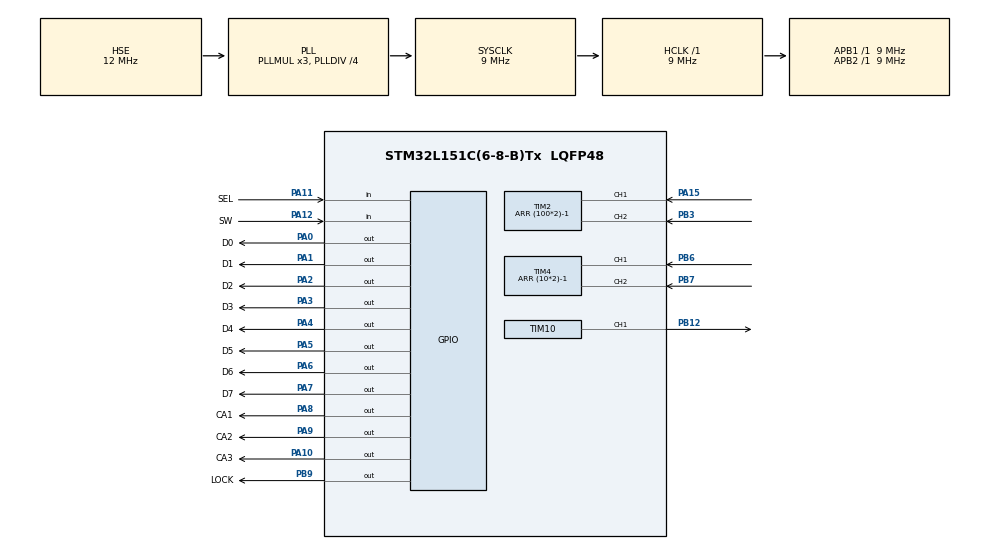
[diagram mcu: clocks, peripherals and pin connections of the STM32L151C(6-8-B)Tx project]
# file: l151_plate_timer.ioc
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Mcu.Family=STM32L1
Mcu.Name=STM32L151C(6-8-B)Tx
Mcu.Package=LQFP48
NVIC.PriorityGroup=NVIC_PRIORITYGROUP_4
NVIC.TIM2_IRQn=true\:0\:0\:false\:false\:true
NVIC.TIM3_IRQn=true\:0\:0\:true\:false\:true
NVIC.TIM4_IRQn=true\:0\:0\:false\:false\:true
PA0-WKUP1.GPIO_Label=D0
PA0-WKUP1.Signal=GPIO_Output
PA1.GPIO_Label=D1
PA1.Signal=GPIO_Output
PA10.GPIO_Label=CA3
PA10.PinState=GPIO_PIN_SET
PA10.Signal=GPIO_Output
PA11.GPIO_Label=SEL
PA11.GPIO_PuPd=GPIO_PULLUP
PA11.Signal=GPIO_Input
PA12.GPIO_Label=SW
PA12.GPIO_PuPd=GPIO_PULLUP
PA12.Signal=GPIO_Input
PA13.Mode=Serial_Wire
PA13.Signal=SYS_JTMS-SWDIO
PA14.Mode=Serial_Wire
PA14.Signal=SYS_JTCK-SWCLK
PA15.GPIO_PuPd=GPIO_PULLUP
PA15.GPIO_Speed=GPIO_SPEED_FREQ_VERY_HIGH
PA15.Signal=S_TIM2_CH1_ETR
PA2.GPIO_Label=D2
PA2.Signal=GPIO_Output
PA3.GPIO_Label=D3
PA3.Signal=GPIO_Output
PA4.GPIO_Label=D4
PA4.Signal=GPIO_Output
PA5.GPIO_Label=D5
PA5.Signal=GPIO_Output
PA6.GPIO_Label=D6
PA6.Signal=GPIO_Output
PA7.GPIO_Label=D7
PA7.Signal=GPIO_Output
PA8.GPIO_Label=CA1
PA8.PinState=GPIO_PIN_SET
PA8.Signal=GPIO_Output
PA9.GPIO_Label=CA2
PA9.PinState=GPIO_PIN_SET
PA9.Signal=GPIO_Output
PB12.GPIO_PuPd=GPIO_PULLDOWN
PB12.GPIO_Speed=GPIO_SPEED_FREQ_VERY_HIGH
PB12.Signal=S_TIM10_CH1
PB3.GPIO_PuPd=GPIO_PULLUP
PB3.GPIO_Speed=GPIO_SPEED_FREQ_VERY_HIGH
PB3.Signal=S_TIM2_CH2
PB6.GPIO_PuPd=GPIO_PULLUP
PB6.GPIO_Speed=GPIO_SPEED_FREQ_VERY_HIGH
PB6.Signal=S_TIM4_CH1
PB7.GPIO_PuPd=GPIO_PULLUP
PB7.GPIO_Speed=GPIO_SPEED_FREQ_VERY_HIGH
PB7.Signal=S_TIM4_CH2
PB9.GPIO_Label=LOCK
PB9.Signal=GPIO_Output
PH0-OSC_IN.Mode=HSE-External-Oscillator
PH0-OSC_IN.Signal=RCC_OSC_IN
PH1-OSC_OUT.Mode=HSE-External-Oscillator
PH1-OSC_OUT.Signal=RCC_OSC_OUT
ProjectManager.HeapSize=0x200
ProjectManager.StackSize=0x400
ProjectManager.TargetToolchain=SW4STM32
RCC.AHBFreq_Value=9000000
RCC.APB1Freq_Value=9000000
RCC.APB1TimFreq_Value=9000000
RCC.APB2Freq_Value=9000000
RCC.APB2TimFreq_Value=9000000
RCC.HCLKFreq_Value=9000000
RCC.HSE_VALUE=12000000
RCC.HSI_VALUE=16000000
RCC.LSE_VALUE=32768
RCC.MSI_VALUE=2097000
RCC.PLLDIV=RCC_PLL_DIV4
RCC.PLLSourceVirtual=RCC_PLLSOURCE_HSE
RCC.SYSCLKFreq_VALUE=9000000
RCC.SYSCLKSource=RCC_SYSCLKSOURCE_PLLCLK
RCC.USBOutput=18000000
RCC.VCOOutputFreq_Value=36000000
SH.S_TIM10_CH1.0=TIM10_CH1,PWM Generation1 CH1
SH.S_TIM2_CH1_ETR.0=TIM2_CH1,Encoder_Interface
SH.S_TIM2_CH2.0=TIM2_CH2,Encoder_Interface
SH.S_TIM4_CH1.0=TIM4_CH1,Encoder_Interface
SH.S_TIM4_CH2.0=TIM4_CH2,Encoder_Interface
TIM10.OCFastMode_PWM=TIM_OCFAST_ENABLE
TIM10.Period=2250-1
TIM10.Pulse=1125-1
TIM2.Period=(100*2)-1
TIM3.Channel-Output\ Compare2\ No\ Output=TIM_CHANNEL_2
TIM3.Channel-Output\ Compare3\ No\ Output=TIM_CHANNEL_3
TIM3.Period=90-1
TIM3.Prescaler=1000-1
TIM3.Pulse-Output\ Compare1\ No\ Output=15
TIM3.Pulse-Output\ Compare2\ No\ Output=45
TIM3.Pulse-Output\ Compare3\ No\ Output=75
TIM3.TIM_MasterOutputTrigger=TIM_TRGO_UPDATE
TIM4.Period=(10*2)-1
VP_TIM10_VS_ClockSourceINT.Mode=Internal
VP_TIM3_VS_ClockSourceINT.Mode=Internal
VP_TIM3_VS_no_output1.Mode=Output Compare1 No Output
VP_TIM3_VS_no_output2.Mode=Output Compare2 No Output
VP_TIM3_VS_no_output3.Mode=Output Compare3 No Output
board=l151_plate_timer

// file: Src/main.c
/**
  ******************************************************************************
  * File Name          : main.c
  * Description        : Main program body
  ******************************************************************************
  *
  * COPYRIGHT(c) 2017 STMicroelectronics
  *
  * Redistribution and use in source and binary forms, with or without modification,
  * are permitted provided that the following conditions are met:
  *   1. Redistributions of source code must retain the above copyright notice,
  *      this list of conditions and the following disclaimer.
  *   2. Redistributions in binary form must reproduce the above copyright notice,
  *      this list of conditions and the following disclaimer in the documentation
  *      and/or other materials provided with the distribution.
  *   3. Neither the name of STMicroelectronics nor the names of its contributors
  *      may be used to endorse or promote products derived from this software
  *      without specific prior written permission.
  *
  * THIS SOFTWARE IS PROVIDED BY THE COPYRIGHT HOLDERS AND CONTRIBUTORS "AS IS"
  * AND ANY EXPRESS OR IMPLIED WARRANTIES, INCLUDING, BUT NOT LIMITED TO, THE
  * IMPLIED WARRANTIES OF MERCHANTABILITY AND FITNESS FOR A PARTICULAR PURPOSE ARE
  * DISCLAIMED. IN NO EVENT SHALL THE COPYRIGHT HOLDER OR CONTRIBUTORS BE LIABLE
  * FOR ANY DIRECT, INDIRECT, INCIDENTAL, SPECIAL, EXEMPLARY, OR CONSEQUENTIAL
  * DAMAGES (INCLUDING, BUT NOT LIMITED TO, PROCUREMENT OF SUBSTITUTE GOODS OR
  * SERVICES; LOSS OF USE, DATA, OR PROFITS; OR BUSINESS INTERRUPTION) HOWEVER
  * CAUSED AND ON ANY THEORY OF LIABILITY, WHETHER IN CONTRACT, STRICT LIABILITY,
  * OR TORT (INCLUDING NEGLIGENCE OR OTHERWISE) ARISING IN ANY WAY OUT OF THE USE
  * OF THIS SOFTWARE, EVEN IF ADVISED OF THE POSSIBILITY OF SUCH DAMAGE.
  *
  ******************************************************************************
  */
#include "main.h"
#include "stm32l1xx_hal.h"

TIM_HandleTypeDef htim2;
TIM_HandleTypeDef htim3;
TIM_HandleTypeDef htim4;
TIM_HandleTypeDef htim10;

/* USER CODE BEGIN PV */
/* Private variables ---------------------------------------------------------*/
const uint16_t digdata[] = {0x00e7, 0x0021, 0x00cb, 0x006b, 0x002d, 0x06e, 0x00ee, 0x0023, 0x00ef, 0x006f};
const uint32_t resetdigit = 0x00ff0700;

__IO uint8_t update;
__IO uint16_t leddat[] = {0x0000, 0x0000, 0x0000};

/* USER CODE END PV */

void SystemClock_Config(void);
void Error_Handler(void);
static void MX_GPIO_Init(void);
static void MX_TIM3_Init(void);
static void MX_TIM2_Init(void);
static void MX_TIM4_Init(void);
static void MX_TIM10_Init(void);

void HAL_TIM_MspPostInit(TIM_HandleTypeDef *htim);

/* USER CODE BEGIN PFP */
/* Private function prototypes -----------------------------------------------*/

/* USER CODE END PFP */

/* USER CODE BEGIN 0 */

uint32_t xorshift(void)
{
  static uint32_t y = 2463534242;
  y = y ^ (y << 13); y = y ^ (y >> 17);
  return y = y ^ (y << 5);
}

void HAL_TIM_OC_DelayElapsedCallback(TIM_HandleTypeDef *htim)
{
  if (htim->Instance == TIM3) {
    if (htim->Channel == HAL_TIM_ACTIVE_CHANNEL_1) {
      GPIOA->BSRR = resetdigit;
      GPIOA->BSRR = leddat[0] | 0x01000000;
    } else
    if (htim->Channel == HAL_TIM_ACTIVE_CHANNEL_2) {
      GPIOA->BSRR = resetdigit;
      GPIOA->BSRR = leddat[1] | 0x02000000;
    } else
    if (htim->Channel == HAL_TIM_ACTIVE_CHANNEL_3) {
      GPIOA->BSRR = resetdigit;
      GPIOA->BSRR = leddat[2] | 0x04000000;
    }
  }
}

void HAL_TIM_PeriodElapsedCallback(TIM_HandleTypeDef *htim)
{
  if (htim->Instance == TIM3) {
    update = 1;
  }
}

uint32_t time_set(void)
{
  uint32_t cnt;

  do {
    xorshift();
    HAL_PWR_EnterSLEEPMode(PWR_MAINREGULATOR_ON, PWR_SLEEPENTRY_WFI);

    cnt = __HAL_TIM_GET_COUNTER(&htim2);
    if (cnt >= 20) {
      leddat[1] = digdata[(cnt/2) % 10] | 0x0010 ;
      leddat[2] = digdata[(cnt/20) % 10];
    } else {
      leddat[1] = digdata[(cnt/2) % 10] | 0x0010 ;
      leddat[2] = 0x0000;
    }

    cnt = __HAL_TIM_GET_COUNTER(&htim4);
    leddat[0] = digdata[cnt/2];

    if (HAL_GPIO_ReadPin(SW_GPIO_Port, SW_Pin) == RESET) {
      cnt = (__HAL_TIM_GET_COUNTER(&htim2)/2)*10 + __HAL_TIM_GET_COUNTER(&htim4)/2;
      if (cnt > 5) {
        break;
      }
    }
  } while (1);

  return cnt;
}

void countdown(uint32_t cnt)
{
  uint32_t t = 0;
  uint32_t buzz = 5;

  update = 0;
  while (update == 0) {
    xorshift();
    HAL_PWR_EnterSLEEPMode(PWR_MAINREGULATOR_ON, PWR_SLEEPENTRY_WFI);
  }
  update = 0;
  while (update == 0) ;

  MX_TIM10_Init();
  HAL_TIM_PWM_Start(&htim10, TIM_CHANNEL_1);

  while (cnt) {
    xorshift();
    HAL_PWR_EnterSLEEPMode(PWR_MAINREGULATOR_ON, PWR_SLEEPENTRY_WFI);

    if (update == 0) continue;
    update = 0;

    if (++t < 10) continue;
    t = 0;

    if (buzz) {
      if (--buzz == 0) {
        HAL_TIM_PWM_Stop(&htim10, TIM_CHANNEL_1);
        HAL_TIM_Base_DeInit(&htim10);
      }
    }
    --cnt;
    leddat[0] = digdata[cnt % 10];
    leddat[1] = digdata[(cnt/10) % 10] | 0x0010;
    if (cnt >= 100) {
      leddat[2] = digdata[(cnt/100) % 10];
    } else {
      leddat[2] = 0x0000;
    }
  }
}

void plock(void)
{
  MX_TIM10_Init();
  HAL_TIM_PWM_Start(&htim10, TIM_CHANNEL_1);

  HAL_GPIO_WritePin(LOCK_GPIO_Port, LOCK_Pin, SET);

  uint32_t cnt = 50;

  while (cnt) {
    xorshift();
    HAL_PWR_EnterSLEEPMode(PWR_MAINREGULATOR_ON, PWR_SLEEPENTRY_WFI);

    if (update == 0) continue;
    update = 0;

    --cnt;
  }

  HAL_TIM_PWM_Stop(&htim10, TIM_CHANNEL_1);
  HAL_TIM_Base_DeInit(&htim10);

  cnt = 250;

  while (cnt) {
    xorshift();
    HAL_PWR_EnterSLEEPMode(PWR_MAINREGULATOR_ON, PWR_SLEEPENTRY_WFI);

    if (update == 0) continue;
    update = 0;

    --cnt;
  }

  HAL_GPIO_WritePin(LOCK_GPIO_Port, LOCK_Pin, RESET);
}

/* USER CODE END 0 */

int main(void)
{

  /* USER CODE BEGIN 1 */
  GPIO_InitTypeDef GPIO_InitStruct;

  /* USER CODE END 1 */

  /* MCU Configuration----------------------------------------------------------*/

  /* Reset of all peripherals, Initializes the Flash interface and the Systick. */
  HAL_Init();

  /* Configure the system clock */
  SystemClock_Config();

  /* Initialize all configured peripherals */
  MX_GPIO_Init();
  MX_TIM3_Init();
  MX_TIM2_Init();
  MX_TIM4_Init();

  /* USER CODE BEGIN 2 */

  HAL_GPIO_WritePin(GPIOB, GPIO_PIN_12, RESET);
  GPIO_InitStruct.Pin = GPIO_PIN_12;
  GPIO_InitStruct.Mode = GPIO_MODE_OUTPUT_PP;
  GPIO_InitStruct.Pull = GPIO_NOPULL;
  GPIO_InitStruct.Speed = GPIO_SPEED_FREQ_LOW;
  HAL_GPIO_Init(GPIOB, &GPIO_InitStruct);

  /* USER CODE END 2 */

  /* Infinite loop */
  /* USER CODE BEGIN WHILE */
  HAL_TIM_Base_Start(&htim3);
  __HAL_TIM_CLEAR_IT(&htim3, TIM_IT_UPDATE | TIM_IT_CC1 | TIM_IT_CC2 | TIM_IT_CC3);
  __HAL_TIM_ENABLE_IT(&htim3, TIM_IT_UPDATE);
  __HAL_TIM_ENABLE_IT(&htim3, TIM_IT_CC1);
  __HAL_TIM_ENABLE_IT(&htim3, TIM_IT_CC2);
  __HAL_TIM_ENABLE_IT(&htim3, TIM_IT_CC3);

  HAL_TIM_Encoder_Start_IT(&htim2, TIM_CHANNEL_ALL);
  HAL_TIM_Encoder_Start_IT(&htim4, TIM_CHANNEL_ALL);
  uint32_t count = 50;

  while (1)
  {
  /* USER CODE END WHILE */

  /* USER CODE BEGIN 3 */

    __HAL_TIM_SET_COUNTER(&htim2, (count/10)*2);
    __HAL_TIM_SET_COUNTER(&htim4, (count%10)*2);

    count = time_set();

    if (HAL_GPIO_ReadPin(SEL_GPIO_Port, SEL_Pin)) {
      leddat[0] = leddat[1] = leddat[2] = 0x0008;

      uint32_t delay = (xorshift() % 200) + 150;
      __HAL_TIM_CLEAR_IT(&htim3, TIM_IT_UPDATE);
      while (delay) {
        xorshift();
        HAL_PWR_EnterSLEEPMode(PWR_MAINREGULATOR_ON, PWR_SLEEPENTRY_WFI);

        if (update == 0) continue;
        update = 0;

        --delay;
      }
    }

    countdown(count);

    plock();
  }
  /* USER CODE END 3 */

}

/** System Clock Configuration
*/
void SystemClock_Config(void)
{

  RCC_OscInitTypeDef RCC_OscInitStruct;
  RCC_ClkInitTypeDef RCC_ClkInitStruct;

    /**Configure the main internal regulator output voltage
    */
  __HAL_PWR_VOLTAGESCALING_CONFIG(PWR_REGULATOR_VOLTAGE_SCALE1);

    /**Initializes the CPU, AHB and APB busses clocks
    */
  RCC_OscInitStruct.OscillatorType = RCC_OSCILLATORTYPE_HSE;
  RCC_OscInitStruct.HSEState = RCC_HSE_ON;
  RCC_OscInitStruct.PLL.PLLState = RCC_PLL_ON;
  RCC_OscInitStruct.PLL.PLLSource = RCC_PLLSOURCE_HSE;
  RCC_OscInitStruct.PLL.PLLMUL = RCC_PLL_MUL3;
  RCC_OscInitStruct.PLL.PLLDIV = RCC_PLL_DIV4;
  if (HAL_RCC_OscConfig(&RCC_OscInitStruct) != HAL_OK)
  {
    Error_Handler();
  }

    /**Initializes the CPU, AHB and APB busses clocks
    */
  RCC_ClkInitStruct.ClockType = RCC_CLOCKTYPE_HCLK|RCC_CLOCKTYPE_SYSCLK
                              |RCC_CLOCKTYPE_PCLK1|RCC_CLOCKTYPE_PCLK2;
  RCC_ClkInitStruct.SYSCLKSource = RCC_SYSCLKSOURCE_PLLCLK;
  RCC_ClkInitStruct.AHBCLKDivider = RCC_SYSCLK_DIV1;
  RCC_ClkInitStruct.APB1CLKDivider = RCC_HCLK_DIV1;
  RCC_ClkInitStruct.APB2CLKDivider = RCC_HCLK_DIV1;

  if (HAL_RCC_ClockConfig(&RCC_ClkInitStruct, FLASH_LATENCY_0) != HAL_OK)
  {
    Error_Handler();
  }

    /**Configure the Systick interrupt time
    */
  HAL_SYSTICK_Config(HAL_RCC_GetHCLKFreq()/1000);

    /**Configure the Systick
    */
  HAL_SYSTICK_CLKSourceConfig(SYSTICK_CLKSOURCE_HCLK);

  /* SysTick_IRQn interrupt configuration */
  HAL_NVIC_SetPriority(SysTick_IRQn, 0, 0);
}

/* TIM2 init function */
static void MX_TIM2_Init(void)
{

  TIM_Encoder_InitTypeDef sConfig;
  TIM_MasterConfigTypeDef sMasterConfig;

  htim2.Instance = TIM2;
  htim2.Init.Prescaler = 0;
  htim2.Init.CounterMode = TIM_COUNTERMODE_UP;
  htim2.Init.Period = (100*2)-1;
  htim2.Init.ClockDivision = TIM_CLOCKDIVISION_DIV1;
  sConfig.EncoderMode = TIM_ENCODERMODE_TI1;
  sConfig.IC1Polarity = TIM_ICPOLARITY_RISING;
  sConfig.IC1Selection = TIM_ICSELECTION_DIRECTTI;
  sConfig.IC1Prescaler = TIM_ICPSC_DIV1;
  sConfig.IC1Filter = 0;
  sConfig.IC2Polarity = TIM_ICPOLARITY_RISING;
  sConfig.IC2Selection = TIM_ICSELECTION_DIRECTTI;
  sConfig.IC2Prescaler = TIM_ICPSC_DIV1;
  sConfig.IC2Filter = 0;
  if (HAL_TIM_Encoder_Init(&htim2, &sConfig) != HAL_OK)
  {
    Error_Handler();
  }

  sMasterConfig.MasterOutputTrigger = TIM_TRGO_RESET;
  sMasterConfig.MasterSlaveMode = TIM_MASTERSLAVEMODE_DISABLE;
  if (HAL_TIMEx_MasterConfigSynchronization(&htim2, &sMasterConfig) != HAL_OK)
  {
    Error_Handler();
  }

}

/* TIM3 init function */
static void MX_TIM3_Init(void)
{

  TIM_ClockConfigTypeDef sClockSourceConfig;
  TIM_MasterConfigTypeDef sMasterConfig;
  TIM_OC_InitTypeDef sConfigOC;

  htim3.Instance = TIM3;
  htim3.Init.Prescaler = 1000-1;
  htim3.Init.CounterMode = TIM_COUNTERMODE_UP;
  htim3.Init.Period = 90-1;
  htim3.Init.ClockDivision = TIM_CLOCKDIVISION_DIV1;
  if (HAL_TIM_Base_Init(&htim3) != HAL_OK)
  {
    Error_Handler();
  }

  sClockSourceConfig.ClockSource = TIM_CLOCKSOURCE_INTERNAL;
  if (HAL_TIM_ConfigClockSource(&htim3, &sClockSourceConfig) != HAL_OK)
  {
    Error_Handler();
  }

  if (HAL_TIM_OC_Init(&htim3) != HAL_OK)
  {
    Error_Handler();
  }

  sMasterConfig.MasterOutputTrigger = TIM_TRGO_UPDATE;
  sMasterConfig.MasterSlaveMode = TIM_MASTERSLAVEMODE_DISABLE;
  if (HAL_TIMEx_MasterConfigSynchronization(&htim3, &sMasterConfig) != HAL_OK)
  {
    Error_Handler();
  }

  sConfigOC.OCMode = TIM_OCMODE_TIMING;
  sConfigOC.Pulse = 15;
  sConfigOC.OCPolarity = TIM_OCPOLARITY_HIGH;
  sConfigOC.OCFastMode = TIM_OCFAST_DISABLE;
  if (HAL_TIM_OC_ConfigChannel(&htim3, &sConfigOC, TIM_CHANNEL_1) != HAL_OK)
  {
    Error_Handler();
  }

  sConfigOC.Pulse = 45;
  if (HAL_TIM_OC_ConfigChannel(&htim3, &sConfigOC, TIM_CHANNEL_2) != HAL_OK)
  {
    Error_Handler();
  }

  sConfigOC.Pulse = 75;
  if (HAL_TIM_OC_ConfigChannel(&htim3, &sConfigOC, TIM_CHANNEL_3) != HAL_OK)
  {
    Error_Handler();
  }

}

/* TIM4 init function */
static void MX_TIM4_Init(void)
{

  TIM_Encoder_InitTypeDef sConfig;
  TIM_MasterConfigTypeDef sMasterConfig;

  htim4.Instance = TIM4;
  htim4.Init.Prescaler = 0;
  htim4.Init.CounterMode = TIM_COUNTERMODE_UP;
  htim4.Init.Period = (10*2)-1;
  htim4.Init.ClockDivision = TIM_CLOCKDIVISION_DIV1;
  sConfig.EncoderMode = TIM_ENCODERMODE_TI1;
  sConfig.IC1Polarity = TIM_ICPOLARITY_RISING;
  sConfig.IC1Selection = TIM_ICSELECTION_DIRECTTI;
  sConfig.IC1Prescaler = TIM_ICPSC_DIV1;
  sConfig.IC1Filter = 0;
  sConfig.IC2Polarity = TIM_ICPOLARITY_RISING;
  sConfig.IC2Selection = TIM_ICSELECTION_DIRECTTI;
  sConfig.IC2Prescaler = TIM_ICPSC_DIV1;
  sConfig.IC2Filter = 0;
  if (HAL_TIM_Encoder_Init(&htim4, &sConfig) != HAL_OK)
  {
    Error_Handler();
  }

  sMasterConfig.MasterOutputTrigger = TIM_TRGO_RESET;
  sMasterConfig.MasterSlaveMode = TIM_MASTERSLAVEMODE_DISABLE;
  if (HAL_TIMEx_MasterConfigSynchronization(&htim4, &sMasterConfig) != HAL_OK)
  {
    Error_Handler();
  }

}

/* TIM10 init function */
static void MX_TIM10_Init(void)
{

  TIM_ClockConfigTypeDef sClockSourceConfig;
  TIM_OC_InitTypeDef sConfigOC;

  htim10.Instance = TIM10;
  htim10.Init.Prescaler = 0;
  htim10.Init.CounterMode = TIM_COUNTERMODE_UP;
  htim10.Init.Period = 2250-1;
  htim10.Init.ClockDivision = TIM_CLOCKDIVISION_DIV1;
  if (HAL_TIM_Base_Init(&htim10) != HAL_OK)
  {
    Error_Handler();
  }

  sClockSourceConfig.ClockSource = TIM_CLOCKSOURCE_INTERNAL;
  if (HAL_TIM_ConfigClockSource(&htim10, &sClockSourceConfig) != HAL_OK)
  {
    Error_Handler();
  }

  if (HAL_TIM_PWM_Init(&htim10) != HAL_OK)
  {
    Error_Handler();
  }

  sConfigOC.OCMode = TIM_OCMODE_PWM1;
  sConfigOC.Pulse = 1125-1;
  sConfigOC.OCPolarity = TIM_OCPOLARITY_HIGH;
  sConfigOC.OCFastMode = TIM_OCFAST_ENABLE;
  if (HAL_TIM_PWM_ConfigChannel(&htim10, &sConfigOC, TIM_CHANNEL_1) != HAL_OK)
  {
    Error_Handler();
  }

  HAL_TIM_MspPostInit(&htim10);

}

/** Configure pins as
        * Analog
        * Input
        * Output
        * EVENT_OUT
        * EXTI
        * Free pins are configured automatically as Analog (this feature is enabled through
        * the Code Generation settings)
*/
static void MX_GPIO_Init(void)
{

  GPIO_InitTypeDef GPIO_InitStruct;

  /* GPIO Ports Clock Enable */
  __HAL_RCC_GPIOC_CLK_ENABLE();
  __HAL_RCC_GPIOH_CLK_ENABLE();
  __HAL_RCC_GPIOA_CLK_ENABLE();
  __HAL_RCC_GPIOB_CLK_ENABLE();

  /*Configure GPIO pin Output Level */
  HAL_GPIO_WritePin(GPIOA, D0_Pin|D1_Pin|D2_Pin|D3_Pin
                          |D4_Pin|D5_Pin|D6_Pin|D7_Pin, GPIO_PIN_RESET);

  /*Configure GPIO pin Output Level */
  HAL_GPIO_WritePin(GPIOA, CA1_Pin|CA2_Pin|CA3_Pin, GPIO_PIN_SET);

  /*Configure GPIO pin Output Level */
  HAL_GPIO_WritePin(LOCK_GPIO_Port, LOCK_Pin, GPIO_PIN_RESET);

  /*Configure GPIO pins : PC13 PC14 PC15 */
  GPIO_InitStruct.Pin = GPIO_PIN_13|GPIO_PIN_14|GPIO_PIN_15;
  GPIO_InitStruct.Mode = GPIO_MODE_ANALOG;
  GPIO_InitStruct.Pull = GPIO_NOPULL;
  HAL_GPIO_Init(GPIOC, &GPIO_InitStruct);

  /*Configure GPIO pins : D0_Pin D1_Pin D2_Pin D3_Pin
                           D4_Pin D5_Pin D6_Pin D7_Pin
                           CA1_Pin CA2_Pin CA3_Pin */
  GPIO_InitStruct.Pin = D0_Pin|D1_Pin|D2_Pin|D3_Pin
                          |D4_Pin|D5_Pin|D6_Pin|D7_Pin
                          |CA1_Pin|CA2_Pin|CA3_Pin;
  GPIO_InitStruct.Mode = GPIO_MODE_OUTPUT_PP;
  GPIO_InitStruct.Pull = GPIO_NOPULL;
  GPIO_InitStruct.Speed = GPIO_SPEED_FREQ_LOW;
  HAL_GPIO_Init(GPIOA, &GPIO_InitStruct);

  /*Configure GPIO pins : PB0 PB1 PB2 PB10
                           PB11 PB13 PB14 PB15
                           PB4 PB5 PB8 */
  GPIO_InitStruct.Pin = GPIO_PIN_0|GPIO_PIN_1|GPIO_PIN_2|GPIO_PIN_10
                          |GPIO_PIN_11|GPIO_PIN_13|GPIO_PIN_14|GPIO_PIN_15
                          |GPIO_PIN_4|GPIO_PIN_5|GPIO_PIN_8;
  GPIO_InitStruct.Mode = GPIO_MODE_ANALOG;
  GPIO_InitStruct.Pull = GPIO_NOPULL;
  HAL_GPIO_Init(GPIOB, &GPIO_InitStruct);

  /*Configure GPIO pins : SEL_Pin SW_Pin */
  GPIO_InitStruct.Pin = SEL_Pin|SW_Pin;
  GPIO_InitStruct.Mode = GPIO_MODE_INPUT;
  GPIO_InitStruct.Pull = GPIO_PULLUP;
  HAL_GPIO_Init(GPIOA, &GPIO_InitStruct);

  /*Configure GPIO pin : LOCK_Pin */
  GPIO_InitStruct.Pin = LOCK_Pin;
  GPIO_InitStruct.Mode = GPIO_MODE_OUTPUT_PP;
  GPIO_InitStruct.Pull = GPIO_NOPULL;
  GPIO_InitStruct.Speed = GPIO_SPEED_FREQ_LOW;
  HAL_GPIO_Init(LOCK_GPIO_Port, &GPIO_InitStruct);

}

void Error_Handler(void)
{
  while(1)
  {
  }
}

/************************ (C) COPYRIGHT STMicroelectronics *****END OF FILE****/
